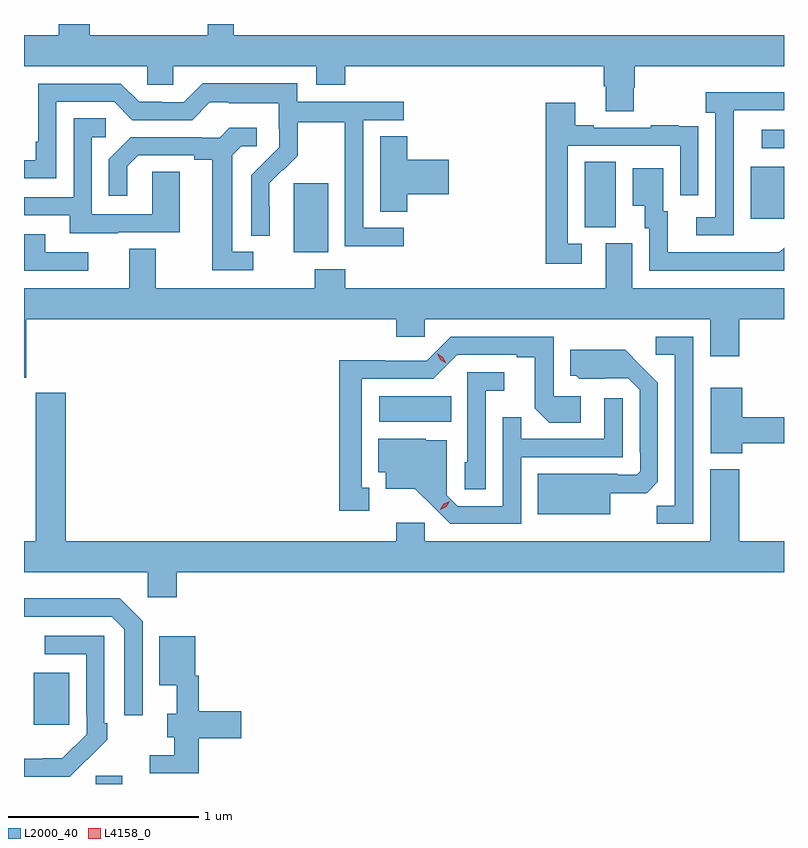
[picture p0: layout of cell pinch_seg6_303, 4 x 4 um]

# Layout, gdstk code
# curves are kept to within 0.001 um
import gdstk
lib = gdstk.Library(unit=1e-6, precision=1e-09)
def R(c, l, rs):  # rectangles x0, y0, x1, y1
    for r in rs: c.add(gdstk.rectangle(r[:2], r[2:], *l))
def P(c, l, *ps):  # polygons
    for p in ps: c.add(gdstk.Polygon(p, *l))
L2000_40 = (2000, 40)
L4158_0 = (4158, 0)

pinch_seg6_303 = lib.new_cell('pinch_seg6_303')
R(pinch_seg6_303, L2000_40, [(660.693,955.546,660.832,955.59), (660.365,955.857,660.553,956.131), (662.184,957.452,662.564,957.586), (661.736,958.346,661.915,958.707), (663.266,958.477,663.43,958.82), (664.139,958.521,664.315,958.795), (664.197,958.893,664.315,958.989)])
P(pinch_seg6_303, L2000_40, [(663.525,959.211),(663.53,959.211),(663.53,959.324),(664.315,959.324),(664.315,959.488),(661.418,959.488),(661.418,959.546),(661.282,959.546),(661.282,959.488),(660.662,959.488),(660.662,959.546),(660.497,959.546),(660.497,959.488),(660.315,959.488),(660.315,959.324),(660.963,959.324),(660.963,959.226),(661.101,959.226),(661.101,959.324),(661.853,959.324),(661.853,959.225),(662.006,959.225),(662.006,959.324),(663.365,959.324),(663.365,959.218),(663.377,959.218),(663.377,959.086),(663.525,959.086)],
  [(662.314,958.473),(662.1,958.473),(662.1,959.04),(662.314,959.04),(662.314,959.136),(661.752,959.136),(661.752,959.233),(661.255,959.233),(661.155,959.133),(661.04,959.133),(661.04,959.136),(660.921,959.136),(660.825,959.232),(660.39,959.232),(660.39,958.927),(660.377,958.927),(660.377,958.83),(660.315,958.83),(660.315,958.734),(660.486,958.734),(660.486,959.136),(660.789,959.136),(660.885,959.04),(661.2,959.04),(661.293,959.133),(661.393,959.133),(661.393,959.129),(661.656,959.129),(661.656,958.995),(661.658,958.995),(661.658,958.898),(661.512,958.75),(661.512,958.432),(661.608,958.432),(661.607,958.709),(661.677,958.779),(661.68,958.776),(661.757,958.853),(661.757,959.028),(662.002,959.028),(662.002,958.804),(662.004,958.804),(662.004,958.375),(662.314,958.375)],
  [(664.05,958.891),(664.051,958.891),(664.051,959.091),(664.315,959.091),(664.315,959.188),(663.903,959.188),(663.903,959.078),(663.954,959.078),(663.954,958.53),(663.852,958.53),(663.852,958.434),(664.05,958.434)],
  [(663.25,958.389),(663.177,958.389),(663.177,958.905),(663.768,958.905),(663.768,958.644),(663.864,958.644),(663.864,958.898),(663.863,958.898),(663.863,959.007),(663.761,959.007),(663.761,959.014),(663.613,959.014),(663.613,959.001),(663.313,959.001),(663.313,959.014),(663.217,959.014),(663.217,959.131),(663.061,959.131),(663.061,958.284),(663.25,958.284)],
  [(660.811,958.449),(661.135,958.449),(661.135,958.769),(660.99,958.769),(660.99,958.545),(660.672,958.545),(660.672,958.95),(660.745,958.95),(660.745,959.051),(660.576,959.051),(660.576,958.635),(660.315,958.635),(660.315,958.539),(660.557,958.539),(660.557,958.445),(660.811,958.445)],
  [(661.522,958.347),(661.411,958.347),(661.411,958.855),(661.458,958.902),(661.54,958.902),(661.54,958.999),(661.396,958.999),(661.344,958.947),(661.25,958.947),(661.25,958.95),(660.878,958.95),(660.762,958.834),(660.762,958.641),(660.859,958.641),(660.859,958.797),(660.916,958.854),(661.211,958.854),(661.211,958.832),(661.307,958.832),(661.307,958.251),(661.522,958.251)],
  [(662.333,958.649),(662.551,958.649),(662.551,958.832),(662.333,958.832),(662.333,958.955),(662.189,958.955),(662.189,958.558),(662.333,958.558)],
  [(664.315,958.369),(664.291,958.345),(663.703,958.344),(663.703,958.56),(663.679,958.56),(663.679,958.786),(663.518,958.786),(663.518,958.589),(663.581,958.589),(663.581,958.47),(663.606,958.47),(663.606,958.248),(664.315,958.248)],
  [(660.652,958.344),(660.427,958.344),(660.427,958.44),(660.315,958.44),(660.315,958.248),(660.652,958.248)],
  [(660.328,957.992),(662.273,957.992),(662.273,957.899),(662.424,957.899),(662.424,957.992),(663.926,957.992),(663.926,957.798),(664.079,957.798),(664.079,957.992),(664.315,957.992),(664.315,958.156),(663.517,958.156),(663.517,958.392),(663.377,958.392),(663.377,958.156),(662.006,958.156),(662.006,958.255),(661.846,958.255),(661.846,958.156),(661.009,958.156),(661.009,958.364),(660.869,958.364),(660.869,958.156),(660.315,958.156),(660.315,957.683),(660.328,957.683)],
  [(662.131,957.105),(662.092,957.105),(662.092,957.678),(662.469,957.678),(662.595,957.804),(662.909,957.804),(662.909,957.792),(663.003,957.792),(663.003,957.524),(663.079,957.448),(663.244,957.448),(663.244,957.588),(663.102,957.588),(663.102,957.9),(662.562,957.9),(662.436,957.774),(662.214,957.774),(662.214,957.776),(661.974,957.776),(661.974,956.985),(662.131,956.985)],
  [(663.837,957.9),(663.639,957.9),(663.639,957.804),(663.741,957.804),(663.741,957.011),(663.646,957.011),(663.646,956.916),(663.837,956.916)],
  [(663.4,957.077),(663.592,957.077),(663.651,957.136),(663.651,957.658),(663.479,957.832),(663.191,957.832),(663.191,957.696),(663.222,957.696),(663.238,957.68),(663.495,957.681),(663.555,957.621),(663.555,957.292),(663.558,957.292),(663.558,957.192),(663.54,957.174),(663.44,957.174),(663.44,957.178),(663.02,957.178),(663.02,956.966),(663.4,956.966)],
  [(662.745,957.617),(662.842,957.617),(662.842,957.714),(662.649,957.714),(662.649,957.24),(662.634,957.24),(662.634,957.097),(662.745,957.097)],
  [(664.096,957.34),(664.315,957.34),(664.315,957.476),(664.096,957.476),(664.096,957.631),(663.929,957.631),(663.929,957.287),(664.096,957.287)],
  [(661.118,956.66),(664.315,956.66),(664.315,956.824),(664.079,956.824),(664.079,957.202),(663.926,957.202),(663.926,956.824),(662.424,956.824),(662.424,956.92),(662.273,956.92),(662.273,956.824),(660.536,956.824),(660.536,957.604),(660.376,957.604),(660.376,956.824),(660.315,956.824),(660.315,956.66),(660.966,956.66),(660.966,956.529),(661.118,956.529)],
  [(662.931,957.267),(663.465,957.267),(663.465,957.577),(663.369,957.577),(663.369,957.363),(662.933,957.363),(662.933,957.476),(662.835,957.476),(662.835,957.009),(662.598,957.009),(662.541,957.066),(662.541,957.355),(662.43,957.355),(662.43,957.364),(662.18,957.364),(662.18,957.188),(662.219,957.188),(662.219,957.101),(662.371,957.101),(662.558,956.916),(662.931,956.916)],
  [(660.939,956.403),(660.818,956.524),(660.315,956.524),(660.315,956.427),(660.777,956.427),(660.843,956.361),(660.843,955.908),(660.939,955.908)],
  [(660.647,955.675),(660.648,955.674),(660.753,955.779),(660.753,955.867),(660.738,955.867),(660.738,956.325),(660.423,956.325),(660.423,956.229),(660.642,956.229),(660.642,955.909),(660.645,955.909),(660.645,955.809),(660.517,955.681),(660.315,955.68),(660.315,955.584),(660.556,955.584)],
  [(661.235,955.786),(661.459,955.786),(661.459,955.928),(661.235,955.928),(661.235,956.115),(661.216,956.115),(661.216,956.323),(661.028,956.323),(661.028,956.066),(661.118,956.066),(661.118,955.915),(661.07,955.915),(661.07,955.793),(661.107,955.793),(661.107,955.698),(660.978,955.698),(660.978,955.602),(661.235,955.602)])
P(pinch_seg6_303, L4158_0, [(662.507,956.99),(662.507,956.991),(662.525,957.02),(662.556,957.034),(662.556,957.034),(662.556,957.034),(662.538,957.005),(662.507,956.99)],
  [(662.537,957.76),(662.506,957.779),(662.489,957.812),(662.489,957.812),(662.489,957.812),(662.52,957.793),(662.537,957.76),(662.537,957.76)])

lib.write_gds('pinch_seg6_303.gds')
